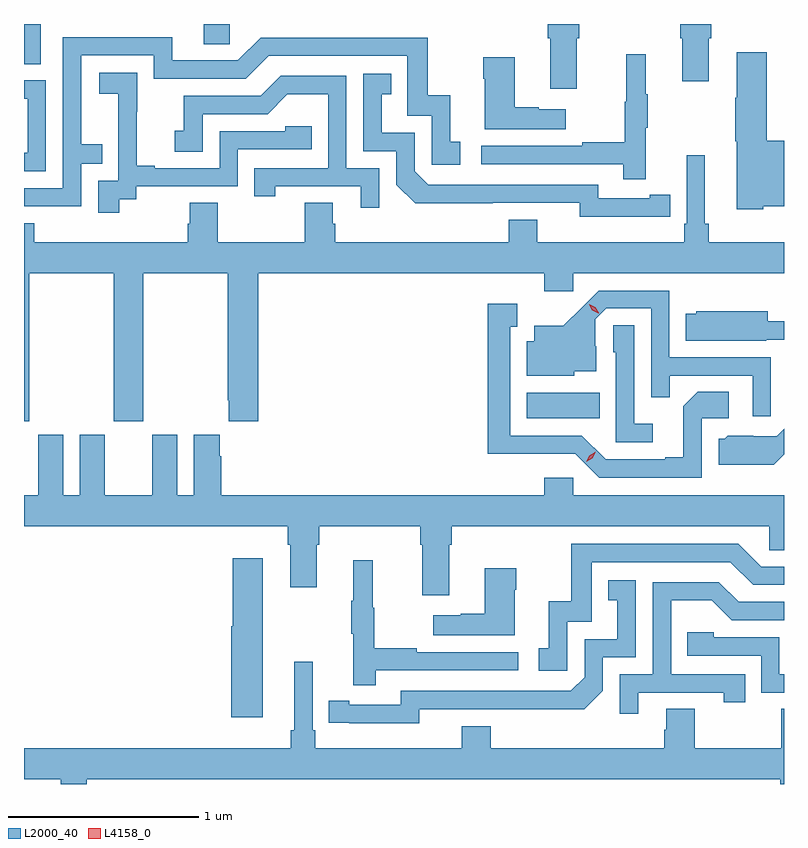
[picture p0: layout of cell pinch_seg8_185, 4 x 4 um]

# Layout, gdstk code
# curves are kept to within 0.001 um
import gdstk
lib = gdstk.Library(unit=1e-6, precision=1e-09)
def R(c, l, rs):  # rectangles x0, y0, x1, y1
    for r in rs: c.add(gdstk.rectangle(r[:2], r[2:], *l))
def P(c, l, *ps):  # polygons
    for p in ps: c.add(gdstk.Polygon(p, *l))
L2000_40 = (2000, 40)
L4158_0 = (4158, 0)

pinch_seg8_185 = lib.new_cell('pinch_seg8_185')
R(pinch_seg8_185, L2000_40, [(685.268,1147.706,685.652,1147.84), (682.622,1149.568,682.711,1149.78), (683.567,1149.673,683.706,1149.78)])
P(pinch_seg8_185, L2000_40, [(685.531,1149.704),(685.544,1149.704),(685.544,1149.78),(685.379,1149.78),(685.379,1149.704),(685.391,1149.704),(685.391,1149.438),(685.531,1149.438)],
  [(686.227,1149.704),(686.24,1149.704),(686.24,1149.78),(686.075,1149.78),(686.075,1149.704),(686.087,1149.704),(686.087,1149.48),(686.227,1149.48)],
  [(682.923,1149.045),(683.033,1149.045),(683.033,1149.146),(682.923,1149.146),(682.923,1149.615),(683.304,1149.615),(683.304,1149.492),(683.79,1149.492),(683.91,1149.612),(684.639,1149.612),(684.639,1149.297),(684.768,1149.297),(684.768,1149.039),(684.919,1149.039),(684.919,1149.159),(684.866,1149.159),(684.866,1149.406),(684.748,1149.406),(684.748,1149.708),(683.868,1149.708),(683.748,1149.588),(683.401,1149.588),(683.401,1149.711),(682.827,1149.711),(682.827,1148.916),(682.622,1148.916),(682.622,1148.82),(682.923,1148.82)],
  [(686.514,1148.822),(686.622,1148.822),(686.622,1149.166),(686.531,1149.166),(686.531,1149.631),(686.372,1149.631),(686.372,1149.392),(686.365,1149.392),(686.365,1149.162),(686.372,1149.162),(686.372,1148.804),(686.514,1148.804)],
  [(685.895,1149.235),(685.906,1149.235),(685.906,1149.409),(685.895,1149.409),(685.895,1149.622),(685.792,1149.622),(685.792,1149.372),(685.785,1149.372),(685.785,1149.158),(685.561,1149.158),(685.561,1149.138),(685.029,1149.138),(685.029,1149.042),(685.777,1149.042),(685.777,1148.964),(685.895,1148.964)],
  [(685.474,1149.331),(685.331,1149.331),(685.331,1149.341),(685.204,1149.341),(685.204,1149.604),(685.039,1149.604),(685.039,1149.491),(685.046,1149.491),(685.046,1149.227),(685.474,1149.227)],
  [(683.122,1148.857),(683.214,1148.857),(683.214,1148.925),(683.748,1148.925),(683.748,1149.12),(684.137,1149.12),(684.137,1149.243),(683.997,1149.243),(683.997,1149.216),(683.652,1149.216),(683.652,1149.021),(683.311,1149.021),(683.311,1149.034),(683.216,1149.034),(683.216,1149.317),(683.217,1149.317),(683.217,1149.523),(683.019,1149.523),(683.019,1149.413),(683.117,1149.413),(683.117,1149.185),(683.118,1149.185),(683.118,1148.955),(683.013,1148.955),(683.013,1148.787),(683.122,1148.787)],
  [(685.916,1148.766),(686.024,1148.766),(686.024,1148.882),(685.916,1148.882),(685.916,1148.862),(685.644,1148.862),(685.644,1148.934),(684.75,1148.934),(684.678,1149.006),(684.678,1149.207),(684.505,1149.207),(684.505,1149.411),(684.554,1149.411),(684.554,1149.517),(684.408,1149.517),(684.408,1149.111),(684.582,1149.111),(684.582,1148.934),(684.68,1148.837),(685.548,1148.838),(685.548,1148.765)],
  [(684.492,1149.021),(684.318,1149.021),(684.318,1149.507),(683.972,1149.507),(683.867,1149.402),(683.464,1149.402),(683.464,1149.217),(683.415,1149.217),(683.415,1149.108),(683.562,1149.108),(683.562,1149.306),(683.904,1149.306),(684.008,1149.41),(684.222,1149.41),(684.222,1149.021),(683.833,1149.021),(683.833,1148.874),(683.944,1148.874),(683.944,1148.925),(684.395,1148.925),(684.395,1148.814),(684.492,1148.814)],
  [(682.737,1149.483),(682.622,1149.483),(682.622,1149.387),(682.641,1149.387),(682.641,1149.102),(682.622,1149.102),(682.622,1149.006),(682.737,1149.006)],
  [(683.695,1147.801),(683.699,1147.801),(683.699,1147.689),(683.855,1147.689),(683.855,1148.468),(685.361,1148.468),(685.361,1148.373),(685.512,1148.373),(685.512,1148.468),(686.622,1148.468),(686.622,1148.632),(686.225,1148.632),(686.225,1148.728),(686.206,1148.728),(686.206,1149.088),(686.109,1149.088),(686.109,1148.728),(686.096,1148.728),(686.096,1148.632),(685.324,1148.632),(685.324,1148.749),(685.172,1148.749),(685.172,1148.632),(684.26,1148.632),(684.26,1148.73),(684.247,1148.73),(684.247,1148.84),(684.1,1148.84),(684.1,1148.632),(683.643,1148.632),(683.643,1148.84),(683.495,1148.84),(683.495,1148.73),(683.483,1148.73),(683.483,1148.632),(682.676,1148.632),(682.676,1148.731),(682.622,1148.731),(682.622,1147.689),(682.65,1147.689),(682.65,1148.468),(683.095,1148.468),(683.095,1147.689),(683.25,1147.689),(683.25,1148.468),(683.695,1148.468)],
  [(686.553,1148.025),(686.019,1148.025),(686.019,1148.376),(685.646,1148.376),(685.459,1148.191),(685.307,1148.191),(685.307,1148.11),(685.268,1148.11),(685.268,1147.928),(685.518,1147.928),(685.518,1147.952),(685.633,1147.952),(685.633,1148.084),(685.629,1148.084),(685.629,1148.226),(685.686,1148.283),(685.923,1148.283),(685.923,1147.816),(686.021,1147.816),(686.021,1147.929),(686.457,1147.929),(686.457,1147.716),(686.553,1147.716)],
  [(686.19,1147.704),(686.332,1147.704),(686.332,1147.844),(686.167,1147.844),(686.091,1147.768),(686.091,1147.501),(685.997,1147.501),(685.997,1147.488),(685.683,1147.488),(685.557,1147.614),(685.18,1147.614),(685.18,1148.187),(685.219,1148.187),(685.219,1148.308),(685.062,1148.308),(685.062,1147.517),(685.524,1147.518),(685.65,1147.392),(686.19,1147.392)],
  [(686.528,1148.118),(686.622,1148.118),(686.622,1148.215),(686.536,1148.215),(686.536,1148.269),(686.16,1148.269),(686.16,1148.254),(686.104,1148.254),(686.104,1148.114),(686.528,1148.114)],
  [(685.93,1147.675),(685.833,1147.675),(685.833,1148.195),(685.722,1148.195),(685.722,1148.052),(685.737,1148.052),(685.737,1147.578),(685.93,1147.578)],
  [(686.622,1147.516),(686.622,1147.65),(686.583,1147.611),(686.46,1147.611),(686.46,1147.612),(686.326,1147.612),(686.31,1147.596),(686.279,1147.596),(686.279,1147.46),(686.567,1147.46)],
  [(684.859,1147.04),(684.872,1147.04),(684.872,1147.136),(686.544,1147.136),(686.544,1147.009),(686.622,1147.009),(686.622,1147.3),(685.512,1147.3),(685.512,1147.393),(685.361,1147.393),(685.361,1147.3),(683.66,1147.3),(683.66,1147.505),(683.653,1147.505),(683.653,1147.618),(683.516,1147.618),(683.516,1147.3),(683.428,1147.3),(683.428,1147.618),(683.297,1147.618),(683.297,1147.3),(683.047,1147.3),(683.047,1147.618),(682.916,1147.618),(682.916,1147.3),(682.828,1147.3),(682.828,1147.618),(682.697,1147.618),(682.697,1147.3),(682.622,1147.3),(682.622,1147.136),(684.011,1147.136),(684.011,1147.04),(684.023,1147.04),(684.023,1146.816),(684.163,1146.816),(684.163,1147.04),(684.176,1147.04),(684.176,1147.136),(684.707,1147.136),(684.707,1147.04),(684.719,1147.04),(684.719,1146.774),(684.859,1146.774)],
  [(685.482,1146.633),(685.611,1146.633),(685.611,1146.948),(686.34,1146.948),(686.46,1146.828),(686.622,1146.828),(686.622,1146.924),(686.502,1146.924),(686.382,1147.044),(685.503,1147.044),(685.503,1146.742),(685.385,1146.742),(685.385,1146.495),(685.332,1146.495),(685.332,1146.375),(685.482,1146.375)],
  [(683.878,1146.967),(683.72,1146.967),(683.72,1146.609),(683.714,1146.609),(683.714,1146.132),(683.878,1146.132)],
  [(684.473,1146.378),(685.222,1146.378),(685.222,1146.474),(684.689,1146.474),(684.689,1146.494),(684.466,1146.494),(684.466,1146.708),(684.458,1146.708),(684.458,1146.958),(684.356,1146.958),(684.356,1146.745),(684.345,1146.745),(684.345,1146.571),(684.356,1146.571),(684.356,1146.3),(684.473,1146.3)],
  [(685.204,1146.803),(685.212,1146.803),(685.212,1146.916),(685.046,1146.916),(685.046,1146.677),(684.92,1146.677),(684.92,1146.667),(684.777,1146.667),(684.777,1146.563),(685.204,1146.563)],
  [(684.702,1146.174),(685.57,1146.173),(685.668,1146.27),(685.668,1146.447),(685.842,1146.447),(685.842,1146.853),(685.696,1146.853),(685.696,1146.747),(685.745,1146.747),(685.745,1146.543),(685.572,1146.543),(685.572,1146.342),(685.5,1146.27),(684.606,1146.27),(684.606,1146.198),(684.334,1146.198),(684.334,1146.218),(684.226,1146.218),(684.226,1146.102),(684.702,1146.101)],
  [(685.855,1146.261),(686.306,1146.261),(686.306,1146.21),(686.417,1146.21),(686.417,1146.357),(686.028,1146.357),(686.028,1146.746),(686.242,1146.746),(686.346,1146.642),(686.622,1146.642),(686.622,1146.738),(686.383,1146.738),(686.278,1146.843),(685.932,1146.843),(685.932,1146.357),(685.758,1146.357),(685.758,1146.15),(685.855,1146.15)],
  [(686.622,1146.357),(686.598,1146.357),(686.598,1146.552),(686.253,1146.552),(686.253,1146.579),(686.113,1146.579),(686.113,1146.456),(686.502,1146.456),(686.502,1146.261),(686.622,1146.261)],
  [(682.952,1145.804),(686.603,1145.804),(686.603,1145.78),(686.622,1145.78),(686.622,1146.176),(686.608,1146.176),(686.608,1145.968),(686.151,1145.968),(686.151,1146.176),(686.003,1146.176),(686.003,1146.066),(685.991,1146.066),(685.991,1145.968),(685.079,1145.968),(685.079,1146.085),(684.926,1146.085),(684.926,1145.968),(684.155,1145.968),(684.155,1146.064),(684.141,1146.064),(684.141,1146.424),(684.044,1146.424),(684.044,1146.064),(684.025,1146.064),(684.025,1145.968),(682.622,1145.968),(682.622,1145.804),(682.816,1145.804),(682.816,1145.78),(682.952,1145.78)])
P(pinch_seg8_185, L4158_0, [(685.645,1148.258),(685.614,1148.274),(685.597,1148.303),(685.597,1148.304),(685.597,1148.304),(685.628,1148.288),(685.646,1148.259),(685.646,1148.258)],
  [(685.581,1147.475),(685.581,1147.475),(685.598,1147.508),(685.63,1147.528),(685.63,1147.528),(685.63,1147.528),(685.613,1147.495),(685.582,1147.475)])

lib.write_gds('pinch_seg8_185.gds')
